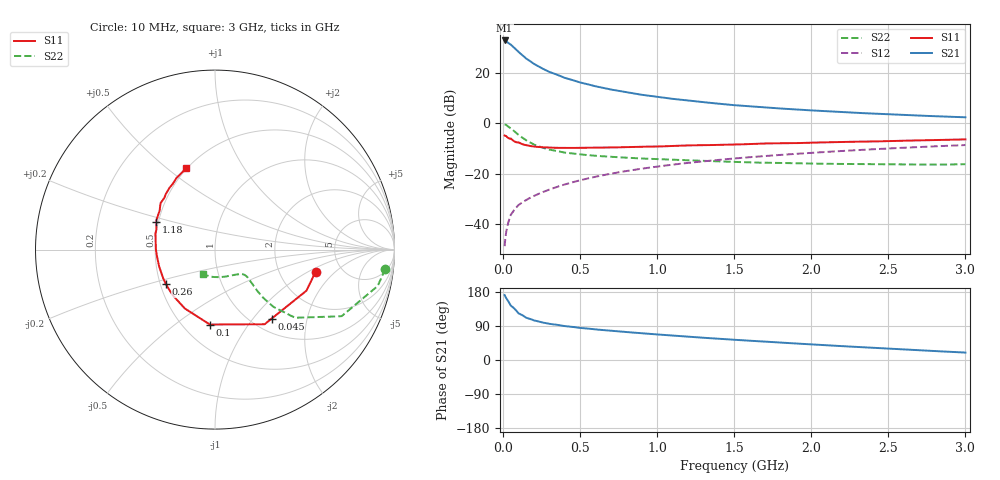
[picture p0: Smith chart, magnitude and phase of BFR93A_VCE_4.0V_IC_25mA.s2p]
! Infineon Technologies  Discrete & RF Semiconductors
! BFR93A
! VCE =  4.0 V,  IC =  25 mA
! Common Emitter S-Parameters:  Nov 2015
# GHz  S  MA  R  50
!  f  S11  S21  S12  S22
! GHz  MAG  ANG  MAG  ANG  MAG  ANG  MAG  ANG
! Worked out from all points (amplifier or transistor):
!   180 points, 10 MHz to 3 GHz, reference 50 ohm
!   highest |S21| = 33.0 dB at 10 MHz (marker M1)
!   |S21| within 3 dB of that: start of sweep to 72.97 MHz
!   unconditionally stable (mu >= 1): 386 MHz to 2.82 GHz
!   at 160 MHz: K = 0.75, MSG = 27.8 dB, |S12| = -30.1 dB
!   at 1.22 GHz: K = 1.07, MAG = 10.6 dB, |S12| = -15.6 dB
!   at 3 GHz: K = 0.99, MSG = 5.5 dB, |S12| = -8.6 dB
!   S11 on the Smith chart (normalised r, x): 10 MHz: 3.22, -1.18; 45 MHz: 1.22, -1.25; 100 MHz: 0.67, -0.68; 260 MHz: 0.53, -0.23; 1.18 GHz: 0.49, +0.17; 3 GHz: 0.50, +0.58
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0.01  0.574 -12.4  44.58 171.3  0.0036 84.7  0.9545 -6.5
0.02  0.5586 -24.2  43.27 163.5  0.0068 79.3  0.9291 -12.6
0.045  0.4973 -50.7  37.61 147.3  0.0137 70.5  0.815 -24.9
0.05  0.4993 -56.4  36.91 143.5  0.0151 69.7  0.7974 -27.7
0.1  0.4185 -93.9  26.3 123.1  0.0237 63.3  0.5862 -40.4
0.15  0.3687 -117.1  19.46 111.5  0.0299 62.8  0.4557 -44.4
0.2  0.3469 -132.4  15.27 104.5  0.0359 64.1  0.3796 -45.0
0.24  0.3368 -141.5  13.04 100.5  0.0407 65.3  0.3415 -44.5
0.26  0.334 -145.3  12.11 98.6  0.0431 65.8  0.3257 -44.2
0.3  0.3298 -151.2  10.56 95.5  0.0481 66.9  0.3007 -43.4
0.4  0.3251 -163.5  8.04 89.5  0.0608 68.7  0.2616 -41.6
0.5  0.3256 -173.3  6.505 84.7  0.0737 69.4  0.2409 -40.5
0.52  0.326 -174.7  6.294 84.0  0.0763 69.4  0.2379 -40.4
0.6  0.3292 179.9  5.46 80.7  0.0866 69.3  0.226 -40.2
0.7  0.3311 174.8  4.708 77.0  0.0996 69.1  0.2158 -40.6
0.9  0.3436 165.1  3.702 70.6  0.1252 67.8  0.1998 -42.8
1.02  0.3473 160.2  3.298 66.9  0.1406 66.7  0.1939 -44.7
1.18  0.3624 154.5  2.888 62.2  0.1609 65.1  0.185 -48.3
1.52  0.3789 144.3  2.275 52.9  0.2024 61.4  0.1702 -57.3
2.02  0.4144 131.1  1.796 40.8  0.2612 55.5  0.1581 -73.9
2.52  0.4455 120.1  1.503 29.7  0.3182 49.2  0.1528 -93.3
3  0.4799 109.6  1.32 19.6  0.3701 43.0  0.154 -116.6
